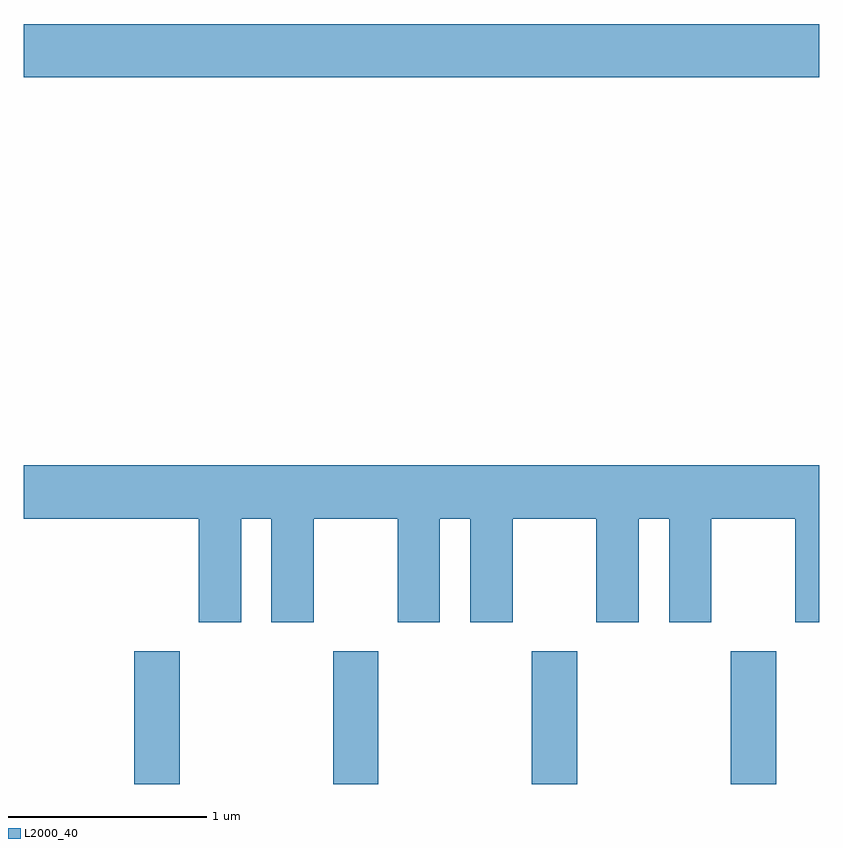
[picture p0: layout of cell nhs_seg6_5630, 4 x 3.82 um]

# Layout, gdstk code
import gdstk
lib = gdstk.Library(unit=1e-6, precision=1e-09)
def R(c, l, rs):  # rectangles x0, y0, x1, y1
    for r in rs: c.add(gdstk.rectangle(r[:2], r[2:], *l))
def A(c, l, x, y, w, h, nx, ny, dx, dy):  # array of equal rectangles
    R(c, l, [(x+i*dx, y+j*dy, x+i*dx+w, y+j*dy+h) for i in range(nx) for j in range(ny)])
def P(c, l, *ps):  # polygons
    for p in ps: c.add(gdstk.Polygon(p, *l))
L2000_40 = (2000, 40)

nhs_seg6_5630 = lib.new_cell('nhs_seg6_5630')
A(nhs_seg6_5630, L2000_40, 356.166, 1644.162, 0.228, 0.667, 4, 1, 1, 0)
R(nhs_seg6_5630, L2000_40, [(355.611,1647.716,359.611,1647.984)])
P(nhs_seg6_5630, L2000_40, [(356.704,1645.496),(356.856,1645.496),(356.856,1644.976),(357.069,1644.976),(357.069,1645.496),(357.491,1645.496),(357.491,1644.976),(357.704,1644.976),(357.704,1645.496),(357.856,1645.496),(357.856,1644.976),(358.069,1644.976),(358.069,1645.496),(358.491,1645.496),(358.491,1644.976),(358.704,1644.976),(358.704,1645.496),(358.856,1645.496),(358.856,1644.976),(359.069,1644.976),(359.069,1645.496),(359.491,1645.496),(359.491,1644.976),(359.611,1644.976),(359.611,1645.764),(355.611,1645.764),(355.611,1645.496),(356.491,1645.496),(356.491,1644.976),(356.704,1644.976)])

lib.write_gds('nhs_seg6_5630.gds')
